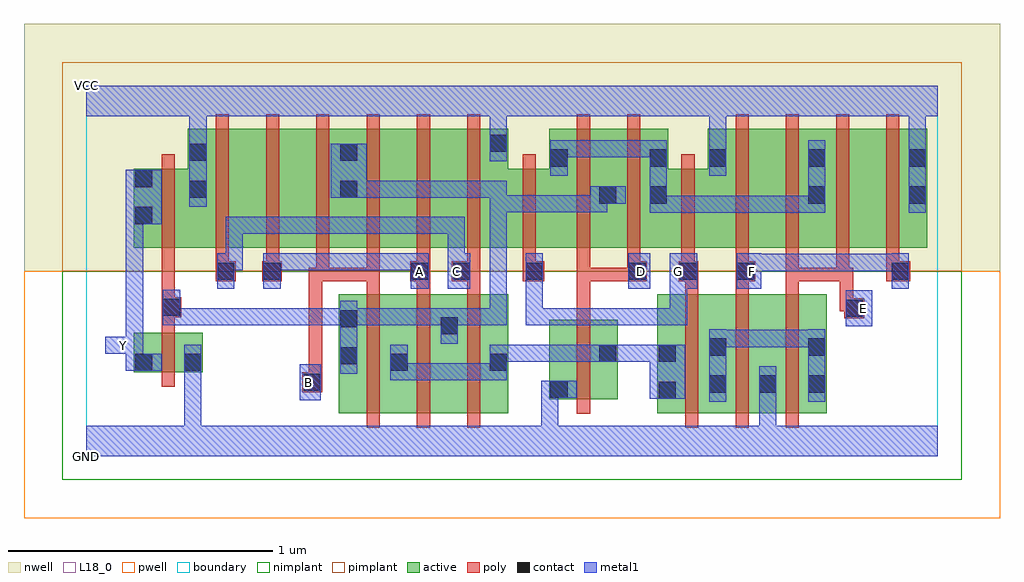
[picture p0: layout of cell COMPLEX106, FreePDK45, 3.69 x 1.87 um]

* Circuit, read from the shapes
.subckt COMPLEX106 A B C D E F G GND VCC Y
M1 GND n1 Y VSUBS nfet w=0.15u l=0.05u
M2 n2 B n1 VSUBS nfet w=0.45u l=0.05u
M3 n1 A n2 VSUBS nfet w=0.45u l=0.05u
M4 n2 C n1 VSUBS nfet w=0.45u l=0.05u
M5 n2 D GND VSUBS nfet w=0.3u l=0.05u
M6 n3 G n2 VSUBS nfet w=0.45u l=0.05u
M7 GND F n3 VSUBS nfet w=0.45u l=0.05u
M8 n3 E GND VSUBS nfet w=0.45u l=0.05u
M9 VCC n1 Y n4 pfet w=0.3u l=0.05u
M10 n5 C VCC n4 pfet w=0.45u l=0.05u
M11 n6 A n5 n4 pfet w=0.45u l=0.05u
M12 n1 B n6 n4 pfet w=0.45u l=0.05u
M13 n7 B n1 n4 pfet w=0.45u l=0.05u
M14 n8 A n7 n4 pfet w=0.45u l=0.05u
M15 VCC C n8 n4 pfet w=0.45u l=0.05u
M16 n9 G VCC n4 pfet w=0.3u l=0.05u m=2
M17 n1 D n9 n4 pfet w=0.45u l=0.05u m=2
M18 n10 F VCC n4 pfet w=0.45u l=0.05u
M19 n9 E n10 n4 pfet w=0.45u l=0.05u
M20 n11 E n9 n4 pfet w=0.45u l=0.05u
M21 VCC F n11 n4 pfet w=0.45u l=0.05u
.ends

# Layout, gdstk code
import gdstk
lib = gdstk.Library(unit=1e-6, precision=1e-09)
def R(c, l, rs):  # rectangles x0, y0, x1, y1
    for r in rs: c.add(gdstk.rectangle(r[:2], r[2:], *l))
def A(c, l, x, y, w, h, nx, ny, dx, dy):  # array of equal rectangles
    R(c, l, [(x+i*dx, y+j*dy, x+i*dx+w, y+j*dy+h) for i in range(nx) for j in range(ny)])
active = (1, 0)
pwell = (2, 0)
nwell = (3, 0)
nimplant = (4, 0)
pimplant = (5, 0)
poly = (9, 0)
contact = (10, 0)
metal1 = (11, 0)
L18_0 = (18, 0)
boundary = (235, 0)

complex106 = lib.new_cell('COMPLEX106')
R(complex106, active, [(0.955,0.162,1.22,0.612), (1.145,0.162,1.41,0.612), (1.335,0.162,1.595,0.612), (2.16,0.162,2.425,0.612), (2.35,0.162,2.615,0.612), (2.54,0.162,2.8,0.612), (2.54,0.162,2.615,0.542), (0.955,0.195,1.03,0.612), (1.145,0.195,1.22,0.542), (1.335,0.195,1.41,0.542), (1.52,0.195,1.595,0.612), (2.16,0.195,2.235,0.612), (2.35,0.195,2.425,0.542), (2.725,0.195,2.8,0.612), (1.75,0.215,1.825,0.515), (1.75,0.215,2.01,0.515), (1.935,0.215,2.01,0.515), (0.18,0.317,0.255,0.467), (0.18,0.317,0.44,0.467), (0.365,0.317,0.44,0.467), (0.18,0.787,0.255,1.087), (0.18,0.787,0.46,1.087), (0.385,0.787,0.46,1.237), (0.385,0.787,0.61,1.237), (0.61,0.787,0.8,1.237), (0.8,0.787,1.03,1.237), (0.955,0.787,1.18,1.237), (1.18,0.787,1.37,1.237), (1.37,0.787,1.595,1.237), (1.52,0.787,1.825,1.087), (1.75,0.787,2.01,1.237), (1.935,0.787,2.2,1.237), (1.935,0.787,2.01,1.07), (2.125,0.787,2.425,1.087), (2.125,0.787,2.2,1.2), (2.35,0.787,2.575,1.237), (2.575,0.787,2.8,1.237), (2.725,0.787,2.955,1.237), (2.955,0.787,3.18,1.237), (3.105,0.787,3.18,1.237), (1.52,0.852,1.595,1.237), (2.35,0.852,2.425,1.165), (0.955,0.857,1.03,1.2), (2.725,0.857,2.8,1.2), (1.75,1.007,1.825,1.2)])
R(complex106, pwell, [(-0.235,-0.235,3.455,0.7)])
R(complex106, nwell, [(-0.235,0.7,3.455,1.635)])
R(complex106, nimplant, [(-0.09,-0.09,3.31,0.7)])
R(complex106, pimplant, [(-0.09,0.7,3.31,1.49)])
A(complex106, poly, 1.06, 0.107, 0.05, 0.56, 3, 1, 0.19, 0)
A(complex106, poly, 2.265, 0.107, 0.05, 0.56, 3, 1, 0.19, 0)
A(complex106, poly, 1.06, 0.617, 0.05, 0.095, 3, 1, 0.19, 0)
A(complex106, poly, 2.265, 0.617, 0.05, 0.095, 3, 1, 0.19, 0)
A(complex106, poly, 2.045, 0.687, 0.05, 0.095, 3, 1, 0.205, 0)
A(complex106, poly, 0.49, 0.732, 0.05, 0.56, 6, 1, 0.19, 0)
A(complex106, poly, 2.455, 0.732, 0.05, 0.56, 4, 1, 0.19, 0)
R(complex106, poly, [(1.855,0.16,1.905,0.57), (0.817,0.242,0.892,0.317), (0.285,0.262,0.335,0.522), (0.842,0.267,0.892,0.317), (0.842,0.267,0.892,0.317), (0.842,0.267,0.892,0.712), (0.285,0.472,0.335,0.575), (1.855,0.52,1.905,0.712), (2.867,0.522,2.942,0.597), (0.285,0.525,0.36,0.6), (2.85,0.547,2.9,0.712), (2.85,0.547,2.917,0.597), (2.867,0.547,2.917,0.597), (0.285,0.55,0.335,0.782), (0.49,0.662,0.565,0.737), (0.665,0.662,0.74,0.737), (0.842,0.662,0.92,0.712), (0.87,0.662,0.92,0.782), (0.87,0.662,1.11,0.712), (0.87,0.662,0.92,0.712), (0.87,0.662,0.92,0.712), (1.06,0.662,1.11,0.782), (1.06,0.662,1.11,0.712), (1.225,0.662,1.3,0.737), (1.382,0.662,1.49,0.737), (1.65,0.662,1.732,0.737), (1.855,0.662,1.905,0.782), (1.855,0.662,2.095,0.712), (1.855,0.662,1.905,0.712), (1.855,0.662,1.905,0.712), (1.855,0.662,1.905,0.712), (2.045,0.662,2.12,0.737), (2.24,0.662,2.315,0.737), (2.455,0.662,2.53,0.737), (2.645,0.662,2.695,0.782), (2.645,0.662,2.885,0.712), (2.645,0.662,2.695,0.712), (2.645,0.662,2.695,0.712), (2.645,0.662,2.695,0.712), (2.835,0.662,2.885,0.782), (2.835,0.662,2.9,0.712), (3.025,0.662,3.115,0.737), (0.49,0.687,0.54,0.782), (0.68,0.687,0.73,0.782), (1.25,0.687,1.3,0.782), (1.44,0.687,1.49,0.782), (1.65,0.687,1.7,0.782), (3.025,0.687,3.075,0.782), (0.285,0.732,0.335,1.142), (1.65,0.732,1.7,1.142), (1.855,0.732,1.905,1.292), (2.045,0.732,2.095,1.292), (2.25,0.732,2.3,1.142)])
R(complex106, contact, [(2.165,0.217,2.23,0.282), (1.755,0.22,1.82,0.285), (2.355,0.24,2.42,0.305), (2.545,0.24,2.61,0.305), (2.73,0.24,2.795,0.305), (0.822,0.247,0.887,0.312), (0.185,0.322,0.25,0.387), (0.37,0.322,0.435,0.387), (1.15,0.322,1.215,0.387), (1.525,0.322,1.59,0.387), (0.96,0.347,1.025,0.412), (1.94,0.357,2.005,0.422), (2.165,0.357,2.23,0.422), (2.355,0.38,2.42,0.445), (2.73,0.38,2.795,0.445), (1.34,0.46,1.405,0.525), (0.96,0.487,1.025,0.552), (2.872,0.527,2.937,0.592), (0.29,0.53,0.355,0.595), (0.495,0.667,0.56,0.732), (0.67,0.667,0.735,0.732), (1.23,0.667,1.295,0.732), (1.387,0.667,1.452,0.732), (1.662,0.667,1.727,0.732), (2.05,0.667,2.115,0.732), (2.245,0.667,2.31,0.732), (2.46,0.667,2.525,0.732), (3.045,0.667,3.11,0.732), (0.185,0.877,0.25,0.942), (1.94,0.955,2.005,1.02), (2.13,0.955,2.195,1.02), (2.73,0.955,2.795,1.02), (3.11,0.955,3.175,1.02), (0.39,0.977,0.455,1.042), (0.96,0.977,1.025,1.042), (0.185,1.017,0.25,1.082), (1.755,1.095,1.82,1.16), (2.13,1.095,2.195,1.16), (2.355,1.095,2.42,1.16), (2.73,1.095,2.795,1.16), (3.11,1.095,3.175,1.16), (0.39,1.117,0.455,1.182), (0.96,1.117,1.025,1.182), (1.525,1.15,1.59,1.215)])
R(complex106, metal1, [(0,0,3.22,0.115), (0.37,0.05,0.435,0.115), (0.37,0.05,0.435,0.115), (0.37,0.05,0.435,0.115), (0.37,0.05,0.435,0.115), (0.37,0.05,0.435,0.352), (1.72,0.05,1.785,0.115), (1.72,0.05,1.785,0.115), (1.72,0.05,1.785,0.115), (1.72,0.05,1.785,0.115), (1.72,0.05,1.785,0.285), (2.545,0.05,2.61,0.27), (2.545,0.05,2.61,0.115), (2.545,0.05,2.61,0.115), (2.355,0.205,2.42,0.48), (2.545,0.205,2.61,0.34), (2.73,0.205,2.795,0.48), (0.807,0.212,0.887,0.347), (2.13,0.217,2.265,0.422), (1.72,0.22,1.855,0.285), (0.37,0.287,0.435,0.422), (0.37,0.287,0.435,0.352), (0.37,0.287,0.435,0.352), (1.15,0.287,1.215,0.422), (1.15,0.287,1.215,0.352), (1.15,0.287,1.215,0.352), (1.15,0.287,1.432,0.352), (1.367,0.287,1.432,0.352), (1.367,0.287,1.432,0.352), (1.367,0.287,1.432,0.352), (1.367,0.287,1.59,0.352), (1.525,0.287,1.59,0.422), (0.96,0.312,1.025,0.587), (0.15,0.322,0.285,0.387), (0.15,0.322,0.215,0.452), (1.525,0.357,1.727,0.422), (1.662,0.357,1.727,0.422), (1.662,0.357,1.727,0.422), (1.662,0.357,1.727,0.422), (1.662,0.357,1.97,0.422), (1.905,0.357,1.97,0.422), (1.905,0.357,1.97,0.422), (1.905,0.357,2.04,0.422), (1.975,0.357,2.115,0.422), (2.05,0.357,2.115,0.422), (2.05,0.357,2.195,0.422), (0.072,0.387,0.215,0.452), (0.15,0.387,0.215,0.942), (2.355,0.412,2.557,0.477), (2.492,0.412,2.557,0.477), (2.492,0.412,2.557,0.477), (2.492,0.412,2.557,0.477), (2.492,0.412,2.795,0.477), (2.73,0.412,2.795,0.477), (2.73,0.412,2.795,0.477), (1.34,0.425,1.405,0.56), (2.872,0.492,2.972,0.627), (0.29,0.495,0.355,0.63), (0.29,0.495,0.422,0.56), (0.357,0.495,0.56,0.56), (0.357,0.495,0.422,0.56), (0.357,0.495,0.422,0.56), (0.357,0.495,0.422,0.56), (0.495,0.495,0.56,0.56), (0.495,0.495,0.56,0.56), (0.495,0.495,0.56,0.56), (0.495,0.495,0.735,0.56), (0.67,0.495,0.735,0.56), (0.67,0.495,0.735,0.56), (0.67,0.495,0.735,0.56), (0.67,0.495,0.887,0.56), (0.822,0.495,1.025,0.56), (0.822,0.495,0.887,0.56), (0.96,0.495,1.025,0.56), (0.96,0.495,1.025,0.56), (0.96,0.495,1.267,0.56), (1.202,0.495,1.405,0.56), (1.202,0.495,1.267,0.56), (1.202,0.495,1.267,0.56), (1.202,0.495,1.267,0.56), (1.34,0.495,1.59,0.56), (1.525,0.495,1.59,0.56), (1.525,0.495,1.59,0.56), (1.525,0.495,1.59,0.56), (1.525,0.495,1.59,0.56), (1.525,0.495,1.59,0.56), (1.525,0.495,1.59,0.987), (1.662,0.495,1.865,0.56), (1.662,0.495,1.727,0.56), (1.662,0.495,1.727,0.697), (1.8,0.495,1.865,0.56), (1.8,0.495,1.957,0.56), (1.892,0.495,1.957,0.56), (1.892,0.495,2.12,0.56), (2.055,0.495,2.12,0.56), (2.055,0.495,2.272,0.56), (2.207,0.495,2.272,0.56), (2.207,0.495,2.272,0.697), (0.495,0.632,0.56,0.767), (0.67,0.632,0.735,0.767), (1.227,0.632,1.295,0.767), (1.367,0.632,1.452,0.767), (1.662,0.632,1.727,0.767), (1.662,0.632,1.727,0.697), (1.662,0.632,1.727,0.697), (2.05,0.632,2.132,0.767), (2.207,0.632,2.272,0.697), (2.207,0.632,2.272,0.697), (2.207,0.632,2.31,0.767), (2.46,0.632,2.552,0.767), (3.045,0.632,3.11,0.767), (2.487,0.7,2.557,0.765), (2.492,0.7,2.695,0.765), (2.492,0.7,2.557,0.765), (2.63,0.7,2.695,0.765), (2.63,0.7,2.695,0.765), (2.63,0.7,2.695,0.765), (2.63,0.7,2.972,0.765), (2.907,0.7,3.11,0.765), (2.907,0.7,2.972,0.765), (2.907,0.7,2.972,0.765), (2.907,0.7,2.972,0.765), (0.495,0.702,0.592,0.767), (0.527,0.702,0.592,0.767), (0.527,0.702,0.592,0.905), (0.67,0.702,0.735,0.767), (0.67,0.702,0.735,0.767), (0.67,0.702,0.872,0.767), (0.807,0.702,0.872,0.767), (0.807,0.702,1.06,0.767), (0.995,0.702,1.06,0.767), (0.995,0.702,1.06,0.767), (0.995,0.702,1.06,0.767), (0.995,0.702,1.197,0.767), (1.132,0.702,1.197,0.767), (1.132,0.702,1.292,0.767), (1.367,0.702,1.432,0.767), (1.367,0.702,1.432,0.767), (1.367,0.702,1.432,0.905), (0.527,0.84,0.592,0.905), (0.527,0.84,0.735,0.905), (0.67,0.84,0.735,0.905), (0.67,0.84,0.735,0.905), (0.67,0.84,0.735,0.905), (0.67,0.84,0.887,0.905), (0.822,0.84,1.025,0.905), (0.822,0.84,0.887,0.905), (0.96,0.84,1.025,0.905), (0.96,0.84,1.025,0.905), (0.96,0.84,1.025,0.905), (0.96,0.84,1.197,0.905), (1.132,0.84,1.197,0.905), (1.132,0.84,1.197,0.905), (1.132,0.84,1.197,0.905), (1.132,0.84,1.432,0.905), (1.367,0.84,1.432,0.905), (0.15,0.877,0.285,1.082), (2.13,0.92,2.195,1.195), (2.13,0.92,2.195,0.985), (2.13,0.92,2.195,0.985), (2.13,0.92,2.27,0.985), (2.205,0.92,2.27,0.985), (2.205,0.92,2.41,0.985), (2.345,0.92,2.41,0.985), (2.345,0.92,2.41,0.985), (2.345,0.92,2.41,0.985), (2.345,0.92,2.557,0.985), (2.492,0.92,2.557,0.985), (2.492,0.92,2.795,0.985), (2.73,0.92,2.795,1.195), (2.73,0.92,2.795,0.985), (2.73,0.92,2.795,0.985), (3.11,0.92,3.175,1.195), (1.525,0.922,1.59,0.987), (1.525,0.922,1.727,0.987), (1.525,0.922,1.59,1.042), (1.662,0.922,1.727,0.987), (1.662,0.922,1.727,0.987), (1.662,0.922,1.727,0.987), (1.662,0.922,1.97,0.987), (1.905,0.922,1.97,1.02), (0.39,0.942,0.455,1.217), (1.905,0.955,1.97,1.02), (1.905,0.955,2.04,1.02), (0.925,0.977,1.06,1.182), (0.995,0.977,1.06,1.042), (0.995,0.977,1.06,1.042), (0.995,0.977,1.267,1.042), (1.202,0.977,1.267,1.042), (1.202,0.977,1.267,1.042), (1.202,0.977,1.267,1.042), (1.202,0.977,1.452,1.042), (1.387,0.977,1.59,1.042), (1.387,0.977,1.452,1.042), (1.387,0.977,1.452,1.042), (1.387,0.977,1.452,1.042), (1.525,0.977,1.59,1.042), (1.755,1.06,1.82,1.195), (2.355,1.06,2.42,1.195), (1.525,1.115,1.59,1.25), (1.755,1.13,1.977,1.195), (1.912,1.13,2.115,1.195), (1.912,1.13,1.977,1.195), (1.912,1.13,1.977,1.195), (1.912,1.13,1.977,1.195), (2.05,1.13,2.115,1.195), (2.05,1.13,2.195,1.195), (2.355,1.13,2.42,1.35), (3.11,1.13,3.175,1.35), (0.39,1.152,0.455,1.35), (1.525,1.185,1.59,1.35), (0,1.285,3.22,1.4)])
R(complex106, L18_0, [(0,0,3.22,0.115), (0.37,0.05,0.435,0.115), (0.37,0.05,0.435,0.115), (0.37,0.05,0.435,0.115), (0.37,0.05,0.435,0.115), (0.37,0.05,0.435,0.352), (1.72,0.05,1.785,0.115), (1.72,0.05,1.785,0.115), (1.72,0.05,1.785,0.115), (1.72,0.05,1.785,0.115), (1.72,0.05,1.785,0.285), (2.545,0.05,2.61,0.115), (2.545,0.05,2.61,0.115), (2.545,0.05,2.61,0.27), (2.545,0.205,2.61,0.34), (0.807,0.212,0.887,0.347), (1.72,0.22,1.855,0.285), (0.807,0.247,0.872,0.312), (0.37,0.287,0.435,0.352), (0.37,0.287,0.435,0.352), (0.37,0.287,0.435,0.422), (0.15,0.322,0.285,0.387), (0.15,0.322,0.215,0.452), (0.072,0.387,0.215,0.452), (0.107,0.387,0.172,0.452), (0.15,0.387,0.215,0.942), (2.872,0.492,2.972,0.627), (1.662,0.495,1.727,0.56), (1.662,0.495,1.865,0.56), (1.662,0.495,1.727,0.697), (1.8,0.495,1.865,0.56), (1.8,0.495,1.957,0.56), (1.892,0.495,1.957,0.56), (1.892,0.495,2.12,0.56), (2.055,0.495,2.12,0.56), (2.055,0.495,2.272,0.56), (2.207,0.495,2.272,0.56), (2.207,0.495,2.272,0.697), (2.907,0.527,2.972,0.592), (0.495,0.632,0.56,0.767), (0.67,0.632,0.735,0.767), (1.227,0.632,1.295,0.767), (1.367,0.632,1.452,0.767), (1.662,0.632,1.727,0.697), (1.662,0.632,1.727,0.697), (1.662,0.632,1.727,0.767), (2.05,0.632,2.132,0.767), (2.207,0.632,2.272,0.697), (2.207,0.632,2.272,0.697), (2.207,0.632,2.31,0.767), (2.46,0.632,2.552,0.767), (3.045,0.632,3.11,0.767), (1.227,0.667,1.292,0.732), (1.367,0.667,1.432,0.732), (2.067,0.667,2.132,0.732), (2.207,0.667,2.272,0.732), (2.487,0.667,2.552,0.732), (2.487,0.7,2.557,0.765), (2.492,0.7,2.557,0.765), (2.492,0.7,2.695,0.765), (2.63,0.7,2.695,0.765), (2.63,0.7,2.695,0.765), (2.63,0.7,2.695,0.765), (2.63,0.7,2.972,0.765), (2.907,0.7,2.972,0.765), (2.907,0.7,2.972,0.765), (2.907,0.7,2.972,0.765), (2.907,0.7,3.11,0.765), (0.495,0.702,0.592,0.767), (0.527,0.702,0.592,0.767), (0.527,0.702,0.592,0.905), (0.67,0.702,0.735,0.767), (0.67,0.702,0.735,0.767), (0.67,0.702,0.872,0.767), (0.807,0.702,0.872,0.767), (0.807,0.702,1.06,0.767), (0.995,0.702,1.06,0.767), (0.995,0.702,1.06,0.767), (0.995,0.702,1.06,0.767), (0.995,0.702,1.197,0.767), (1.132,0.702,1.197,0.767), (1.132,0.702,1.292,0.767), (1.367,0.702,1.432,0.767), (1.367,0.702,1.432,0.767), (1.367,0.702,1.432,0.905), (0.527,0.84,0.592,0.905), (0.527,0.84,0.735,0.905), (0.67,0.84,0.735,0.905), (0.67,0.84,0.735,0.905), (0.67,0.84,0.735,0.905), (0.67,0.84,0.887,0.905), (0.822,0.84,0.887,0.905), (0.822,0.84,1.025,0.905), (0.96,0.84,1.025,0.905), (0.96,0.84,1.025,0.905), (0.96,0.84,1.025,0.905), (0.96,0.84,1.197,0.905), (1.132,0.84,1.197,0.905), (1.132,0.84,1.197,0.905), (1.132,0.84,1.197,0.905), (1.132,0.84,1.432,0.905), (1.367,0.84,1.432,0.905), (0.15,0.877,0.285,1.082), (3.11,0.92,3.175,1.195), (0.39,0.942,0.455,1.217), (2.355,1.06,2.42,1.195), (1.525,1.115,1.59,1.25), (2.355,1.13,2.42,1.35), (3.11,1.13,3.175,1.35), (0.39,1.152,0.455,1.35), (1.525,1.185,1.59,1.35), (0,1.285,3.22,1.4)])
R(complex106, boundary, [(0,0,3.22,1.4)])
complex106.add(gdstk.Label('A', (1.26,0.7), layer=11, texttype=0))
complex106.add(gdstk.Label('B', (0.84,0.28), layer=11, texttype=0))
complex106.add(gdstk.Label('C', (1.4,0.7), layer=11, texttype=0))
complex106.add(gdstk.Label('D', (2.1,0.7), layer=11, texttype=0))
complex106.add(gdstk.Label('E', (2.94,0.56), layer=11, texttype=0))
complex106.add(gdstk.Label('F', (2.52,0.7), layer=11, texttype=0))
complex106.add(gdstk.Label('G', (2.24,0.7), layer=11, texttype=0))
complex106.add(gdstk.Label('Y', (0.14,0.42), layer=11, texttype=0))
complex106.add(gdstk.Label('VCC', (0,1.4), layer=11, texttype=0))
complex106.add(gdstk.Label('GND', (0,0), layer=11, texttype=0))

lib.write_gds('COMPLEX106.gds')
